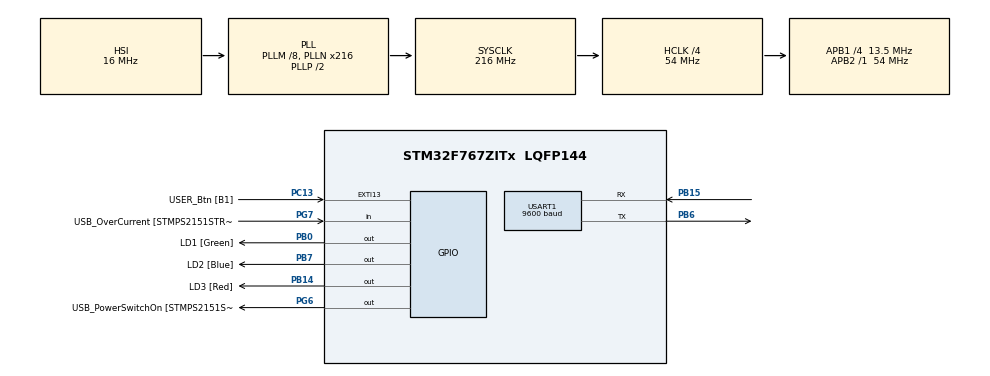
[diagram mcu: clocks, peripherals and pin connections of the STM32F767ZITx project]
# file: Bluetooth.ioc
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Mcu.Family=STM32F7
Mcu.Name=STM32F767ZITx
Mcu.Package=LQFP144
NVIC.PriorityGroup=NVIC_PRIORITYGROUP_4
NVIC.USART1_IRQn=true\:0\:0\:false\:false\:true\:true\:true
PB0.GPIO_Label=LD1 [Green]
PB0.Signal=GPIO_Output
PB14.GPIO_Label=LD3 [Red]
PB14.Signal=GPIO_Output
PB15.Mode=Asynchronous
PB15.Signal=USART1_RX
PB6.Mode=Asynchronous
PB6.Signal=USART1_TX
PB7.GPIO_Label=LD2 [Blue]
PB7.Signal=GPIO_Output
PC13.GPIO_Label=USER_Btn [B1]
PC13.Signal=GPXTI13
PG6.GPIO_Label=USB_PowerSwitchOn [STMPS2151STR_EN]
PG6.Signal=GPIO_Output
PG7.GPIO_Label=USB_OverCurrent [STMPS2151STR_FAULT]
PG7.Signal=GPIO_Input
ProjectManager.HeapSize=0x200
ProjectManager.StackSize=0x400
ProjectManager.TargetToolchain=MDK-ARM V5.27
RCC.48MHZClocksFreq_Value=24000000
RCC.AHBCLKDivider=RCC_SYSCLK_DIV4
RCC.AHBFreq_Value=54000000
RCC.APB1CLKDivider=RCC_HCLK_DIV4
RCC.APB1Freq_Value=13500000
RCC.APB1TimFreq_Value=27000000
RCC.APB2Freq_Value=54000000
RCC.APB2TimFreq_Value=54000000
RCC.CortexFreq_Value=54000000
RCC.HCLKFreq_Value=54000000
RCC.HSE_VALUE=16000000
RCC.HSI_VALUE=16000000
RCC.LSE_VALUE=32768
RCC.PLLM=8
RCC.PLLMUL=RCC_PLL_MUL9
RCC.PLLN=216
RCC.PRESCALERUSB=RCC_USBCLKSOURCE_PLL_DIV1_5
RCC.SYSCLKFreq_VALUE=216000000
RCC.SYSCLKSource=RCC_SYSCLKSOURCE_PLLCLK
RCC.SYSCLKSourceVirtual=RCC_SYSCLKSOURCE_PLLCLK
RCC.USBFreq_Value=216000000
RCC.VCOOutputFreq_Value=432000000
USART1.BaudRate=9600
USART1.VirtualMode-Asynchronous=VM_ASYNC
board=NUCLEO-F767ZI

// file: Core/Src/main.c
/* USER CODE BEGIN Header */
/**
  ******************************************************************************
  * @file           : main.c
  * @brief          : Main program body
  ******************************************************************************
  * @attention
  *
  * <h2><center>&copy; Copyright (c) 2021 STMicroelectronics.
  * All rights reserved.</center></h2>
  *
  * This software component is licensed by ST under BSD 3-Clause license,
  * the "License"; You may not use this file except in compliance with the
  * License. You may obtain a copy of the License at:
  *                        opensource.org/licenses/BSD-3-Clause
  *
  ******************************************************************************
  */
/* USER CODE END Header */
#include "main.h"
#include "usart.h"
#include "gpio.h"

/* USER CODE BEGIN Includes */
#include "fifo.h"
#include "ucmd.h"
/* USER CODE END Includes */

void SystemClock_Config(void);

/* USER CODE BEGIN 0 */
	extern ST_FIFO RxFifo_UART1;
	extern ST_FIFO TxFifo_UART1;

	static uint8_t Rx_Buffer_UART1[BUFFER_SIZE];
	static uint8_t Tx_Buffer_UART1[BUFFER_SIZE];

	extern int Rx_string_processing;
	extern int Tx_string_transmitting;

	extern uint8_t Message[BUFFER_SIZE];

	extern Command my_cmd_list;
/* USER CODE END 0 */

int main(void)
{

  /* MCU Configuration--------------------------------------------------------*/

  /* Reset of all peripherals, Initializes the Flash interface and the Systick. */
  HAL_Init();

  /* USER CODE BEGIN Init */

	RxFifo_UART1.fifo = Rx_Buffer_UART1;
	TxFifo_UART1.fifo = Tx_Buffer_UART1;

	RxFifo_UART1.fifo_len = RBUFF_SIZE;
	TxFifo_UART1.fifo_len = TBUFF_SIZE;

	fifo_init(&RxFifo_UART1);
	fifo_init(&TxFifo_UART1);

	Rx_string_processing=0;
	Tx_string_transmitting=0;

  /* USER CODE END Init */

  /* Configure the system clock */
  SystemClock_Config();

  /* Initialize all configured peripherals */
  MX_GPIO_Init();
  MX_USART1_UART_Init();

  /* USER CODE BEGIN 2 */
	init_UART1();
  /* USER CODE END 2 */

  /* Infinite loop */
  /* USER CODE BEGIN WHILE */
  while (1)
  {
		if(Rx_string_processing)
		{
			//pode ser usado o valor de retorno do parser  a função error_handler
			ucmd_parse(&my_cmd_list," ",(char*) Message);
			Rx_string_processing = 0;
		}
    /* USER CODE END WHILE */

  }
}

void SystemClock_Config(void)
{
  RCC_OscInitTypeDef RCC_OscInitStruct = {0};
  RCC_ClkInitTypeDef RCC_ClkInitStruct = {0};
  RCC_PeriphCLKInitTypeDef PeriphClkInitStruct = {0};

  /** Configure the main internal regulator output voltage
  */
  __HAL_RCC_PWR_CLK_ENABLE();
  __HAL_PWR_VOLTAGESCALING_CONFIG(PWR_REGULATOR_VOLTAGE_SCALE3);
  /** Initializes the RCC Oscillators according to the specified parameters
  * in the RCC_OscInitTypeDef structure.
  */
  RCC_OscInitStruct.OscillatorType = RCC_OSCILLATORTYPE_HSI;
  RCC_OscInitStruct.HSIState = RCC_HSI_ON;
  RCC_OscInitStruct.HSICalibrationValue = RCC_HSICALIBRATION_DEFAULT;
  RCC_OscInitStruct.PLL.PLLState = RCC_PLL_ON;
  RCC_OscInitStruct.PLL.PLLSource = RCC_PLLSOURCE_HSI;
  RCC_OscInitStruct.PLL.PLLM = 8;
  RCC_OscInitStruct.PLL.PLLN = 216;
  RCC_OscInitStruct.PLL.PLLP = RCC_PLLP_DIV2;
  RCC_OscInitStruct.PLL.PLLQ = 2;
  if (HAL_RCC_OscConfig(&RCC_OscInitStruct) != HAL_OK)
  {
    Error_Handler();
  }
  /** Initializes the CPU, AHB and APB buses clocks
  */
  RCC_ClkInitStruct.ClockType = RCC_CLOCKTYPE_HCLK|RCC_CLOCKTYPE_SYSCLK
                              |RCC_CLOCKTYPE_PCLK1|RCC_CLOCKTYPE_PCLK2;
  RCC_ClkInitStruct.SYSCLKSource = RCC_SYSCLKSOURCE_PLLCLK;
  RCC_ClkInitStruct.AHBCLKDivider = RCC_SYSCLK_DIV4;
  RCC_ClkInitStruct.APB1CLKDivider = RCC_HCLK_DIV4;
  RCC_ClkInitStruct.APB2CLKDivider = RCC_HCLK_DIV1;

  if (HAL_RCC_ClockConfig(&RCC_ClkInitStruct, FLASH_LATENCY_1) != HAL_OK)
  {
    Error_Handler();
  }
  PeriphClkInitStruct.PeriphClockSelection = RCC_PERIPHCLK_USART1;
  PeriphClkInitStruct.Usart1ClockSelection = RCC_USART1CLKSOURCE_PCLK2;
  if (HAL_RCCEx_PeriphCLKConfig(&PeriphClkInitStruct) != HAL_OK)
  {
    Error_Handler();
  }
}

void Error_Handler(void)
{
  __disable_irq();
  while (1)
  {
  }
}

/************************ (C) COPYRIGHT STMicroelectronics *****END OF FILE****/
